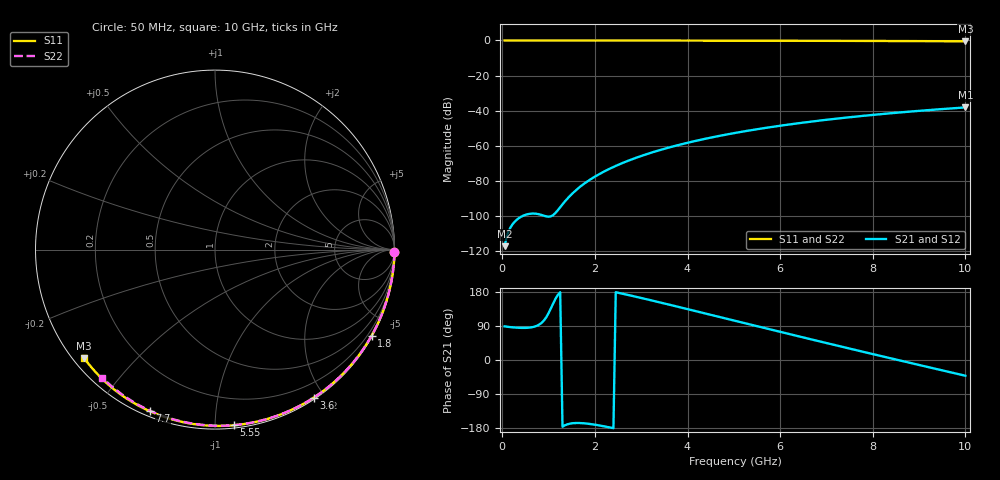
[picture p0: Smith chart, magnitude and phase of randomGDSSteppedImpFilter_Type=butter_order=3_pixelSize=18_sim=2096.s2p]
! freq	dB(S11)	phase(S11)	dB(S12)	phase(S12)
!  dB(S21)	phase(S21)	dB(S22)	phase(S22)
!S-par simulation data
#  GHz  S  DB  R 50
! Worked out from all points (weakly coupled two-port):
!   200 points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, 50 MHz to 10 GHz, reference 50 ohm
!   highest |S21| = -38.11 dB at 10 GHz (marker M1); lowest = -117.1 dB at 50 MHz (marker M2)
!   lowest |S11| = -0.5 dB at 10 GHz (marker M3), VSWR 36.64, Z = 1.54 - j18 ohm
!   |S11| at or under -10 dB: nowhere
!   |S22| runs from -0.4 to 0.0 dB; largest |S21 - S12| = 0
!   S11 on the Smith chart (normalised r, x): 50 MHz: open; 1.8 GHz: 0.03, -3.89; 3.6 GHz: 0.02, -1.87; 5.55 GHz: 0.02, -1.11; 7.7 GHz: 0.02, -0.67; 10 GHz: 0.03, -0.36
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0.05  -0.00 -0.8  -117.08 88.8  -117.08 88.8  -0.00 -0.8
0.45  -0.01 -7.3  -99.75 84.7  -99.75 84.7  -0.01 -6.8
0.9  -0.02 -14.6  -99.74 104.4  -99.74 104.4  -0.02 -13.6
1.75  -0.04 -28.1  -81.87 -166.9  -81.87 -166.9  -0.03 -26.2
1.8  -0.04 -28.9  -80.92 -167.5  -80.92 -167.5  -0.03 -27.0
1.85  -0.04 -29.6  -80.01 -168.2  -80.01 -168.2  -0.04 -27.7
2  -0.04 -32.0  -77.51 -170.7  -77.51 -170.7  -0.04 -29.9
2.15  -0.04 -34.3  -75.27 -173.9  -75.27 -173.9  -0.04 -32.1
2.35  -0.05 -37.4  -72.61 -178.7  -72.61 -178.7  -0.05 -35.0
2.55  -0.05 -40.5  -70.26 176.2  -70.26 176.2  -0.05 -37.9
2.95  -0.06 -46.6  -66.20 165.1  -66.20 165.1  -0.06 -43.6
3.4  -0.07 -53.4  -62.41 152.1  -62.41 152.1  -0.07 -49.9
3.6  -0.08 -56.3  -60.92 146.2  -60.92 146.2  -0.07 -52.7
4.3  -0.09 -66.5  -56.42 125.3  -56.42 125.3  -0.09 -62.3
5.05  -0.12 -77.1  -52.52 102.8  -52.52 102.8  -0.11 -72.2
5.55  -0.14 -84.0  -50.31 87.8  -50.31 87.8  -0.13 -78.7
6.1  -0.16 -91.3  -48.16 71.3  -48.16 71.3  -0.15 -85.7
6.7  -0.19 -99.2  -46.09 53.6  -46.09 53.6  -0.18 -93.1
7.7  -0.26 -112.0  -43.15 24.3  -43.15 24.3  -0.24 -105.1
8.35  -0.31 -120.1  -41.51 5.5  -41.51 5.5  -0.29 -112.6
9.2  -0.39 -130.6  -39.64 -18.8  -39.64 -18.8  -0.36 -122.4
10  -0.47 -140.4  -38.11 -41.6  -38.11 -41.6  -0.44 -131.4
